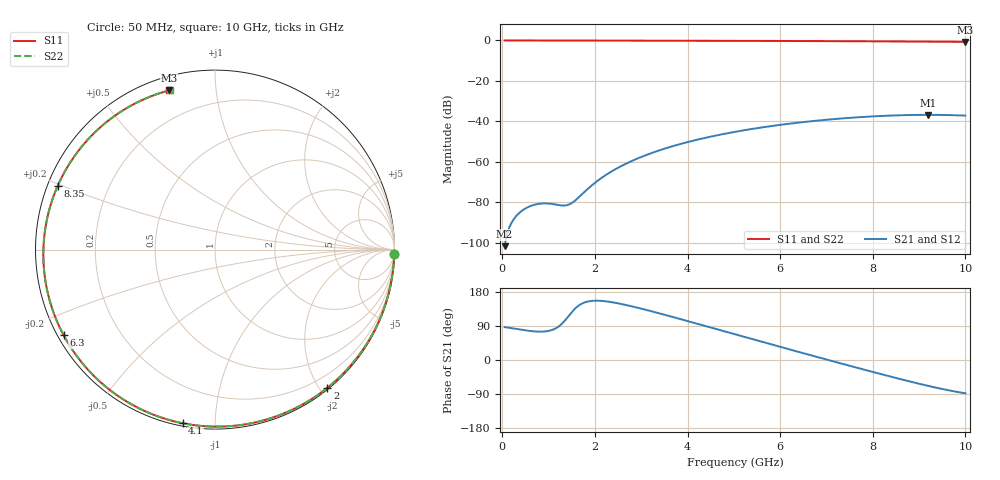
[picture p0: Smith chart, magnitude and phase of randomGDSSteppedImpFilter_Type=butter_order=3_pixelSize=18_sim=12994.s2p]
! freq	dB(S11)	phase(S11)	dB(S12)	phase(S12)
!  dB(S21)	phase(S21)	dB(S22)	phase(S22)
!S-par simulation data
#  GHz  S  DB  R 50
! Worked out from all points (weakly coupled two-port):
!   200 points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, 50 MHz to 10 GHz, reference 50 ohm
!   highest |S21| = -36.74 dB at 9.2 GHz (marker M1); lowest = -101.6 dB at 50 MHz (marker M2)
!   lowest |S11| = -0.7 dB at 10 GHz (marker M3), VSWR 24.95, Z = 3.13 + j37.5 ohm
!   |S11| at or under -10 dB: nowhere
!   |S22| runs from -0.7 to 0.0 dB; largest |S21 - S12| = 0
!   S11 on the Smith chart (normalised r, x): 50 MHz: 3, -90; 2 GHz: 0.02, -2.10; 4.1 GHz: 0.01, -0.83; 6.3 GHz: 0.02, -0.26; 8.35 GHz: 0.03, +0.19; 10 GHz: 0.06, +0.75
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0.05  -0.01 -1.3  -101.61 86.9  -101.61 86.9  -0.01 -1.3
0.75  -0.02 -19.4  -80.86 75.0  -80.86 75.0  -0.02 -19.4
1.5  -0.05 -38.5  -80.32 126.3  -80.32 126.3  -0.05 -38.5
1.55  -0.05 -39.7  -79.50 133.1  -79.50 133.1  -0.05 -39.8
1.75  -0.06 -44.7  -75.33 150.6  -75.33 150.6  -0.06 -44.8
2  -0.06 -50.9  -70.34 156.5  -70.34 156.5  -0.06 -50.9
2.3  -0.07 -58.3  -65.52 153.8  -65.52 153.8  -0.07 -58.3
2.6  -0.08 -65.5  -61.68 147.1  -61.68 147.1  -0.08 -65.6
2.95  -0.10 -73.9  -58.02 137.1  -58.02 137.1  -0.10 -73.9
3.4  -0.11 -84.5  -54.22 122.8  -54.22 122.8  -0.11 -84.5
4.1  -0.14 -100.6  -49.62 99.4  -49.62 99.4  -0.14 -100.7
5.05  -0.19 -122.1  -45.03 67.0  -45.03 67.0  -0.19 -122.2
5.7  -0.23 -136.8  -42.64 44.9  -42.64 44.9  -0.23 -136.9
6.3  -0.27 -150.5  -40.84 24.7  -40.84 24.7  -0.27 -150.7
6.7  -0.31 -159.9  -39.83 11.3  -39.83 11.3  -0.31 -160.0
7.55  -0.39 179.3  -38.15 -16.9  -38.15 -16.9  -0.39 179.1
7.95  -0.44 168.9  -37.57 -29.9  -37.57 -29.9  -0.44 168.7
8.35  -0.49 157.9  -37.14 -42.7  -37.14 -42.7  -0.49 157.7
8.8  -0.54 145.0  -36.83 -56.6  -36.83 -56.6  -0.54 144.7
9.2  -0.59 132.7  -36.74 -68.4  -36.74 -68.4  -0.59 132.5
9.6  -0.65 119.8  -36.84 -79.1  -36.84 -79.1  -0.65 119.5
10  -0.70 106.1  -37.12 -87.8  -37.12 -87.8  -0.70 105.8
